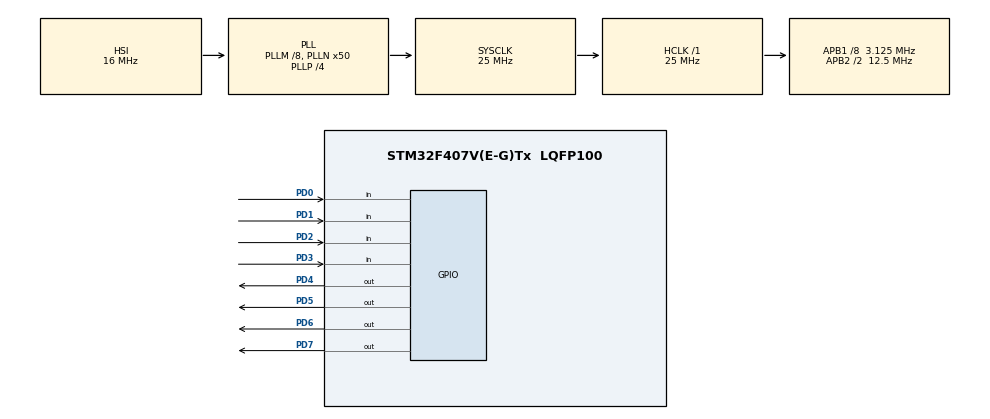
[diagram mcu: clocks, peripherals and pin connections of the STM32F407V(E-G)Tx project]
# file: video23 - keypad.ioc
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Mcu.Family=STM32F4
Mcu.Name=STM32F407V(E-G)Tx
Mcu.Package=LQFP100
NVIC.PriorityGroup=NVIC_PRIORITYGROUP_0
NVIC.TIM1_UP_TIM10_IRQn=true\:0\:0\:false\:false\:true\:false\:true
NVIC.TimeBase=TIM1_UP_TIM10_IRQn
NVIC.TimeBaseIP=TIM1
PD0.Signal=GPIO_Input
PD1.Signal=GPIO_Input
PD2.Signal=GPIO_Input
PD3.Signal=GPIO_Input
PD4.Signal=GPIO_Output
PD5.Signal=GPIO_Output
PD6.Signal=GPIO_Output
PD7.Signal=GPIO_Output
ProjectManager.HeapSize=0x200
ProjectManager.StackSize=0x400
ProjectManager.TargetToolchain=STM32CubeIDE
RCC.48MHZClocksFreq_Value=14285714.285714285
RCC.AHBFreq_Value=25000000
RCC.APB1CLKDivider=RCC_HCLK_DIV8
RCC.APB1Freq_Value=3125000
RCC.APB1TimFreq_Value=6250000
RCC.APB2CLKDivider=RCC_HCLK_DIV2
RCC.APB2Freq_Value=12500000
RCC.APB2TimFreq_Value=25000000
RCC.CortexFreq_Value=25000000
RCC.HCLKFreq_Value=25000000
RCC.HSE_VALUE=8000000
RCC.HSI_VALUE=16000000
RCC.PLLM=8
RCC.PLLN=50
RCC.PLLP=RCC_PLLP_DIV4
RCC.PLLQ=7
RCC.SYSCLKFreq_VALUE=25000000
RCC.SYSCLKSource=RCC_SYSCLKSOURCE_PLLCLK
RCC.VCOOutputFreq_Value=100000000
VP_SYS_VS_tim1.Mode=TIM1
board=STM32F407G-DISC1

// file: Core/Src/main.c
/* USER CODE BEGIN Header */
/**
  ******************************************************************************
  * @file           : main.c
  * @brief          : Main program body
  ******************************************************************************
  * @attention
  *
  * <h2><center>&copy; Copyright (c) 2021 STMicroelectronics.
  * All rights reserved.</center></h2>
  *
  * This software component is licensed by ST under Ultimate Liberty license
  * SLA0044, the "License"; You may not use this file except in compliance with
  * the License. You may obtain a copy of the License at:
  *                             www.st.com/SLA0044
  *
  ******************************************************************************
  */
/* USER CODE END Header */
#include "main.h"

/* USER CODE BEGIN Includes */

//Incluir librería del youtuber
#include "MY_Keypad4x4.h"
//Incluir librería booleana
#include <stdbool.h>

/* USER CODE END Includes */

void SystemClock_Config(void);
static void MX_GPIO_Init(void);

/* USER CODE BEGIN 0 */
bool mySwitches[16];

/* USER CODE END 0 */

int main(void)
{
  /* USER CODE BEGIN 1 */
	Keypad_WiresTypeDef myKeypadStruct;

  /* USER CODE END 1 */

  /* MCU Configuration--------------------------------------------------------*/

  /* Reset of all peripherals, Initializes the Flash interface and the Systick. */
  HAL_Init();

  /* Configure the system clock */
  SystemClock_Config();

  /* Initialize all configured peripherals */
  MX_GPIO_Init();
  /* USER CODE BEGIN 2 */
  //Declaración puertos de entrada
  myKeypadStruct.IN0_Port = GPIOD;
  myKeypadStruct.IN1_Port = GPIOD;
  myKeypadStruct.IN2_Port = GPIOD;
  myKeypadStruct.IN3_Port = GPIOD;

  //Declaración puertos de salida
  myKeypadStruct.OUT0_Port = GPIOD;
  myKeypadStruct.OUT1_Port = GPIOD;
  myKeypadStruct.OUT2_Port = GPIOD;
  myKeypadStruct.OUT3_Port = GPIOD;

  //Declaración pines de entrada
  myKeypadStruct.IN0pin = GPIO_PIN_0;
  myKeypadStruct.IN1pin = GPIO_PIN_1;
  myKeypadStruct.IN2pin = GPIO_PIN_2;
  myKeypadStruct.IN3pin = GPIO_PIN_3;

  //Declaración pines de salida
  myKeypadStruct.OUT0pin = GPIO_PIN_4;
  myKeypadStruct.OUT1pin = GPIO_PIN_5;
  myKeypadStruct.OUT2pin = GPIO_PIN_6;
  myKeypadStruct.OUT3pin = GPIO_PIN_7;

  //Declaración pines de salida
  Keypad4x4_Init(&myKeypadStruct);

  /* USER CODE END 2 */

  /* Infinite loop */
  while (1)
  {

    /* USER CODE BEGIN 3 */
	  //Leer continuamente las teclas del keypad
	  Keypad4x4_ReadKeypad(mySwitches);
	  HAL_Delay(100);
  }
  /* USER CODE END 3 */
}

void SystemClock_Config(void)
{
  RCC_OscInitTypeDef RCC_OscInitStruct = {0};
  RCC_ClkInitTypeDef RCC_ClkInitStruct = {0};

  /** Configure the main internal regulator output voltage
  */
  __HAL_RCC_PWR_CLK_ENABLE();
  __HAL_PWR_VOLTAGESCALING_CONFIG(PWR_REGULATOR_VOLTAGE_SCALE1);
  /** Initializes the RCC Oscillators according to the specified parameters
  * in the RCC_OscInitTypeDef structure.
  */
  RCC_OscInitStruct.OscillatorType = RCC_OSCILLATORTYPE_HSI;
  RCC_OscInitStruct.HSIState = RCC_HSI_ON;
  RCC_OscInitStruct.HSICalibrationValue = RCC_HSICALIBRATION_DEFAULT;
  RCC_OscInitStruct.PLL.PLLState = RCC_PLL_ON;
  RCC_OscInitStruct.PLL.PLLSource = RCC_PLLSOURCE_HSI;
  RCC_OscInitStruct.PLL.PLLM = 8;
  RCC_OscInitStruct.PLL.PLLN = 50;
  RCC_OscInitStruct.PLL.PLLP = RCC_PLLP_DIV4;
  RCC_OscInitStruct.PLL.PLLQ = 7;
  if (HAL_RCC_OscConfig(&RCC_OscInitStruct) != HAL_OK)
  {
    Error_Handler();
  }
  /** Initializes the CPU, AHB and APB buses clocks
  */
  RCC_ClkInitStruct.ClockType = RCC_CLOCKTYPE_HCLK|RCC_CLOCKTYPE_SYSCLK
                              |RCC_CLOCKTYPE_PCLK1|RCC_CLOCKTYPE_PCLK2;
  RCC_ClkInitStruct.SYSCLKSource = RCC_SYSCLKSOURCE_PLLCLK;
  RCC_ClkInitStruct.AHBCLKDivider = RCC_SYSCLK_DIV1;
  RCC_ClkInitStruct.APB1CLKDivider = RCC_HCLK_DIV8;
  RCC_ClkInitStruct.APB2CLKDivider = RCC_HCLK_DIV2;

  if (HAL_RCC_ClockConfig(&RCC_ClkInitStruct, FLASH_LATENCY_0) != HAL_OK)
  {
    Error_Handler();
  }
}

static void MX_GPIO_Init(void)
{
  GPIO_InitTypeDef GPIO_InitStruct = {0};

  /* GPIO Ports Clock Enable */
  __HAL_RCC_GPIOD_CLK_ENABLE();

  /*Configure GPIO pin Output Level */
  HAL_GPIO_WritePin(GPIOD, GPIO_PIN_4|GPIO_PIN_5|GPIO_PIN_6|GPIO_PIN_7, GPIO_PIN_RESET);

  /*Configure GPIO pins : PD0 PD1 PD2 PD3 */
  GPIO_InitStruct.Pin = GPIO_PIN_0|GPIO_PIN_1|GPIO_PIN_2|GPIO_PIN_3;
  GPIO_InitStruct.Mode = GPIO_MODE_INPUT;
  GPIO_InitStruct.Pull = GPIO_NOPULL;
  HAL_GPIO_Init(GPIOD, &GPIO_InitStruct);

  /*Configure GPIO pins : PD4 PD5 PD6 PD7 */
  GPIO_InitStruct.Pin = GPIO_PIN_4|GPIO_PIN_5|GPIO_PIN_6|GPIO_PIN_7;
  GPIO_InitStruct.Mode = GPIO_MODE_OUTPUT_PP;
  GPIO_InitStruct.Pull = GPIO_NOPULL;
  GPIO_InitStruct.Speed = GPIO_SPEED_FREQ_LOW;
  HAL_GPIO_Init(GPIOD, &GPIO_InitStruct);

}

void HAL_TIM_PeriodElapsedCallback(TIM_HandleTypeDef *htim)
{
  if (htim->Instance == TIM1) {
    HAL_IncTick();
  }
}

void Error_Handler(void)
{
  __disable_irq();
  while (1)
  {
  }
}

/************************ (C) COPYRIGHT STMicroelectronics *****END OF FILE****/
